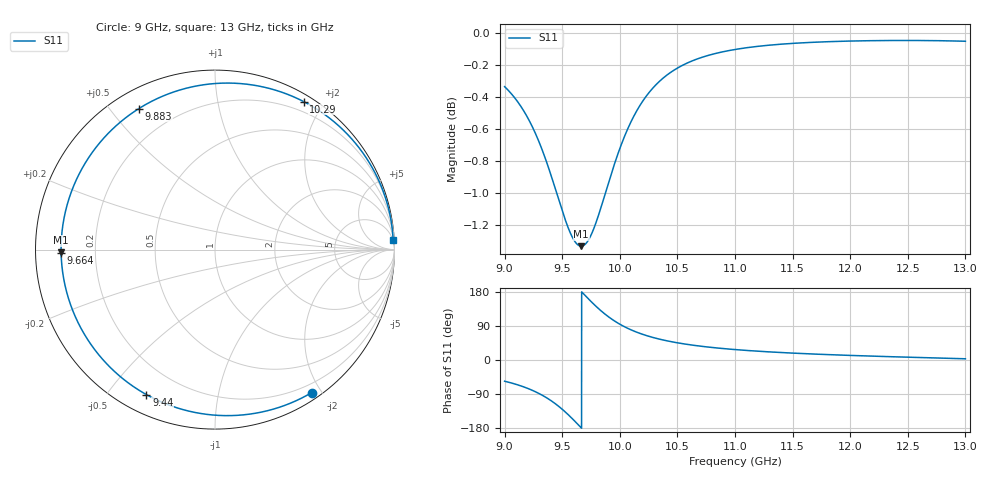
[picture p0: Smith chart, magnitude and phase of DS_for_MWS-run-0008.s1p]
! TOUCHSTONE file generated by CST DESIGN STUDIO
! Date and time: Tue Feb  4 17:25:17 2025
! Project name: C:\Work\MatlabApps\UnitCellOptimizationMatlab\CST\unitcell.cst
! Tree item: Tasks\Sweep1\SPara1\S-Parameters
! Header version: 2024
! Port assignment regex: !\s*Touchstone port\s*([0-9]+)\s*=\s*(CST MWS port|CST DES external port|CST DES block port)\s*(.+)\s* \(\"(.*)\"\)(\s*mode\s*([0-9]+))?.*
! Touchstone port assignment:
! Touchstone port 1 = CST DES external port 1 ("")
# GHz S MA R 50
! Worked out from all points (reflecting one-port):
!   4001 points, 9 GHz to 13 GHz, reference 50 ohm
!   lowest |S11| = -1.3 dB at 9.665 GHz (marker M1), VSWR 13.04, Z = 3.83 - j0.455 ohm
!   phase of S11 starts at -56 deg and turns -301 deg over the sweep
!   S11 on the Smith chart (normalised r, x): 9 GHz: 0.09, -1.88; 9.44 GHz: 0.08, -0.63; 9.664 GHz: 0.08, -0.01; 9.883 GHz: 0.08, +0.59; 10.29 GHz: 0.08, +1.76; 13 GHz: 4, +35
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9  0.9618 -55.9
9.113  0.9515 -65.5
9.224  0.9371 -77.9
9.344  0.9154 -96.0
9.394  0.9045 -105.4
9.44  0.8937 -115.3
9.5  0.8797 -130.0
9.543  0.8707 -141.7
9.589  0.863 -155.2
9.627  0.8589 -166.9
9.664  0.8576 -178.6
9.665  0.8576 -179.0
9.711  0.8596 166.5
9.759  0.8658 151.7
9.822  0.8784 133.8
9.883  0.8929 118.3
9.939  0.9064 106.0
10  0.9199 94.5
10.07  0.9333 83.4
10.14  0.9442 74.2
10.292  0.9613 59.1
10.5  0.9747 45.4
10.719  0.9825 35.8
11  0.9879 27.5
11.5  0.9922 18.2
12  0.9939 12.1
12.5  0.9943 7.4
13  0.9937 3.2
